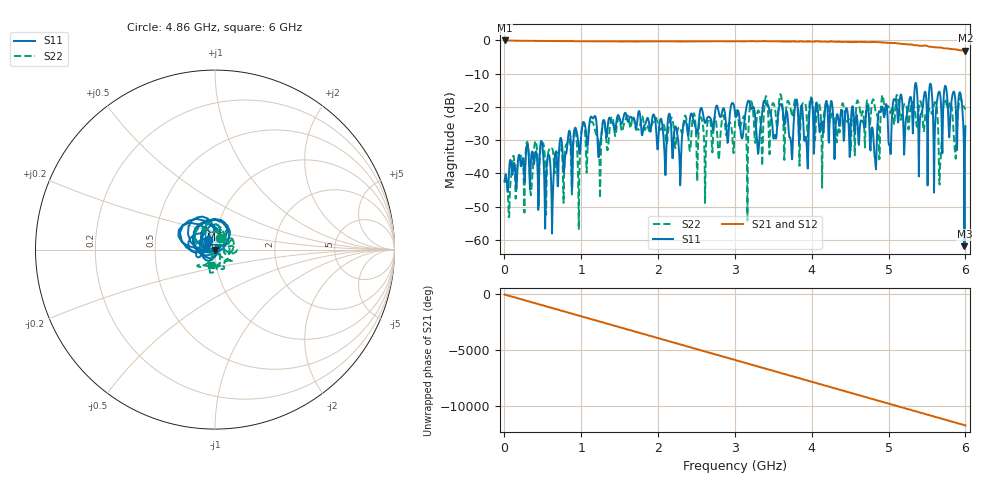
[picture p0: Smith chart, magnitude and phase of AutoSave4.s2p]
!Agilent N9923A: A.05.17
!Date: Sunday, 01 January 2006 12:59:41
!Model: N9923A
!Serial: MY50371189
!CHECKSUM:1755678378
!Correction: S11(OFF)S21(ON U)S12(OFF)S22(OFF)
!S2P File: Measurements:S11,S21,S12,S22:
# Hz S DB R 50
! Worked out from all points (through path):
!   1001 points, 2 MHz to 6 GHz, reference 50 ohm
!   highest |S21| = -0.05 dB at 2 MHz (marker M1); lowest = -3.2 dB at 6 GHz (marker M2)
!   group delay of S21, straight-line fit = 5.43 ns
!   lowest |S11| = -61.9 dB at 5.988 GHz (marker M3), VSWR 1.00, Z = 49.9 - j0.0617 ohm
!   |S11| at or under -10 dB: start of sweep to end of sweep
!   |S22| runs from -57.0 to -16.2 dB; largest |S21 - S12| = 0.011
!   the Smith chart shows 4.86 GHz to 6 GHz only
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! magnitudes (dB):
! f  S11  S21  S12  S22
! 2 MHz  -42.4  -0.1  0.0  -42.9
! 481.8 MHz  -30.3  -0.2  -0.2  -30.9
! 625.8 MHz  -50.2  -0.2  -0.2  -32.8
! 1.004 GHz  -27.5  -0.3  -0.3  -27.0
! 2.005 GHz  -28.9  -0.3  -0.3  -25.8
! 2.281 GHz  -37.5  -0.4  -0.3  -26.2
! 3.001 GHz  -21.6  -0.3  -0.3  -24.7
! 3.307 GHz  -33.6  -0.3  -0.3  -21.1
! 3.595 GHz  -19.2  -0.3  -0.3  -16.2
! 3.727 GHz  -30.0  -0.3  -0.3  -20.8
! 3.799 GHz  -18.0  -0.4  -0.4  -17.3
! 3.925 GHz  -29.1  -0.4  -0.3  -20.1
! 4.003 GHz  -18.2  -0.5  -0.4  -17.8
! 5.004 GHz  -31.5  -0.8  -0.8  -20.2
! 5.352 GHz  -12.8  -1.5  -1.4  -22.9
! 5.604 GHz  -26.0  -2.1  -2.1  -18.6
! 5.67 GHz  -16.1  -2.1  -2.1  -38.1
! 5.742 GHz  -13.8  -2.4  -2.4  -17.8
! 5.868 GHz  -17.7  -2.7  -2.7  -33.9
! 5.94 GHz  -16.4  -3.0  -3.0  -17.5
! 5.988 GHz  -61.9  -3.1  -3.1  -20.2
! 6 GHz  -25.8  -3.2  -3.1  -20.9
